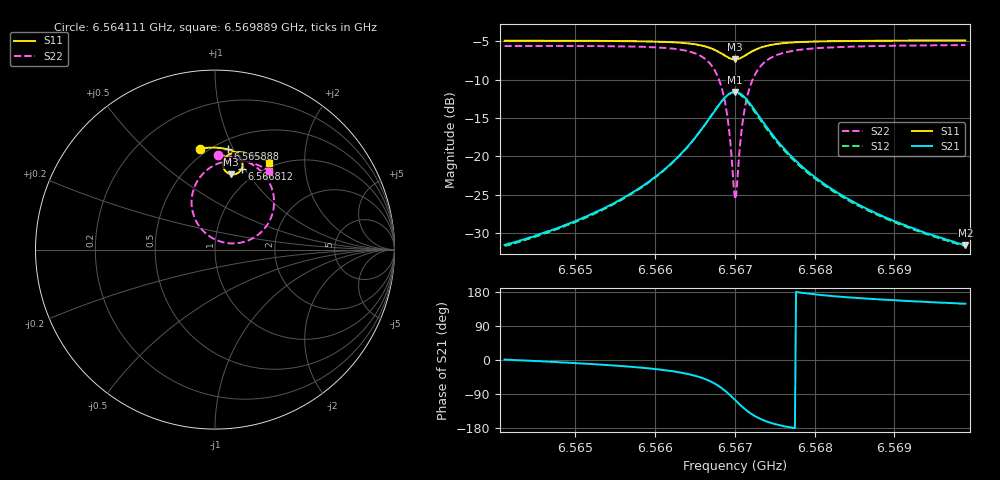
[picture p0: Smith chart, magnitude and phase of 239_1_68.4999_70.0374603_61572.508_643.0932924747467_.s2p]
#  HZ  S  RI  R  50.00
! Rohde & Schwarz Vector Network Analyzer
! Rohde-Schwarz,ZNB20-2Port,1311601062101988,3.16
! Created: UTC 3/20/2024, 4:59:16 PM
! freq[Hz]  re:S11  im:S11  re:S21  im:S21  re:S12  im:S12  re:S22  im:S22
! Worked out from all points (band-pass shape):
!   401 points, 6.564111 GHz to 6.569889 GHz, reference 50 ohm
!   highest |S21| = -11.58 dB at 6.567 GHz (marker M1); lowest = -31.6 dB at 6.569889 GHz (marker M2)
!   |S21| within 3 dB of the highest: 6.566711 GHz to 6.567289 GHz (578 kHz wide, 0.0088 % of centre)
!   lowest |S11| = -7.3 dB at 6.567 GHz (marker M3), VSWR 2.50, Z = 40.4 + j41.6 ohm
!   |S11| at or under -10 dB: nowhere
!   |S22| runs from -25.6 to -5.5 dB; largest |S21 - S12| = 0.012
!   S11 on the Smith chart (normalised r, x): 6.564111 GHz: 0.45, +0.76; 6.565888 GHz: 0.58, +0.95; 6.566812 GHz: 0.83, +0.97; 6.569889 GHz: 0.93, +1.34
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6.5641114e9  -0.0815 0.5632  0.0264 0.000473  0.0259 7.45e-05  0.0173 0.5249
6.5650791e9  -0.00328 0.5681  0.0389 -0.00632  0.0382 -0.00682  0.1061 0.5145
6.565888e9  0.0698 0.5587  0.062 -0.0243  0.0609 -0.025  0.2037 0.4766
6.5660469e9  0.086 0.5538  0.0696 -0.0325  0.0685 -0.0331  0.2283 0.4602
6.5663646e9  0.1212 0.5358  0.0896 -0.0628  0.0882 -0.064  0.2868 0.4
6.5665813e9  0.1456 0.5088  0.1026 -0.1096  0.1005 -0.1116  0.3249 0.3099
6.5667113e9  0.1543 0.4805  0.0981 -0.1591  0.0945 -0.1618  0.3239 0.2154
6.5668124e9  0.149 0.4513  0.0719 -0.2094  0.0654 -0.2122  0.2785 0.1206
6.5668991e9  0.1285 0.4274  0.0198 -0.2483  0.0103 -0.2489  0.184 0.0505
6.5669279e9  0.118 0.4221  -0.00388 -0.2558  -0.0143 -0.2551  0.1407 0.0381
6.5669857e9  0.0937 0.419  -0.0568 -0.2571  -0.0675 -0.2525  0.0469 0.0401
6.5670002e9  0.0875 0.4201  -0.0702 -0.2541  -0.0807 -0.2487  0.0238 0.0469
6.567029e9  0.0756 0.4241  -0.0955 -0.2442  -0.1051 -0.237  -0.0194 0.0669
6.5670868e9  0.0566 0.4392  -0.1366 -0.2124  -0.1431 -0.2027  -0.0861 0.1281
6.5671302e9  0.0482 0.4539  -0.1563 -0.1825  -0.1605 -0.1723  -0.1158 0.1824
6.5671879e9  0.0445 0.4741  -0.1689 -0.1428  -0.1701 -0.1329  -0.1303 0.2533
6.5672601e9  0.0485 0.4958  -0.1685 -0.1001  -0.1674 -0.0919  -0.1215 0.3272
6.5675201e9  0.0875 0.5346  -0.1262 -0.0219  -0.1236 -0.0182  -0.0258 0.4572
6.5679679e9  0.146 0.5424  -0.0753 0.008  -0.0733 0.00918  0.0944 0.4969
6.5683868e9  0.1874 0.535  -0.0522 0.0132  -0.051 0.0138  0.1616 0.4933
6.5689356e9  0.2331 0.5196  -0.0363 0.0143  -0.0355 0.0147  0.2237 0.4769
6.5698889e9  0.3021 0.4845  -0.0224 0.0138  -0.0219 0.0139  0.3036 0.4379
